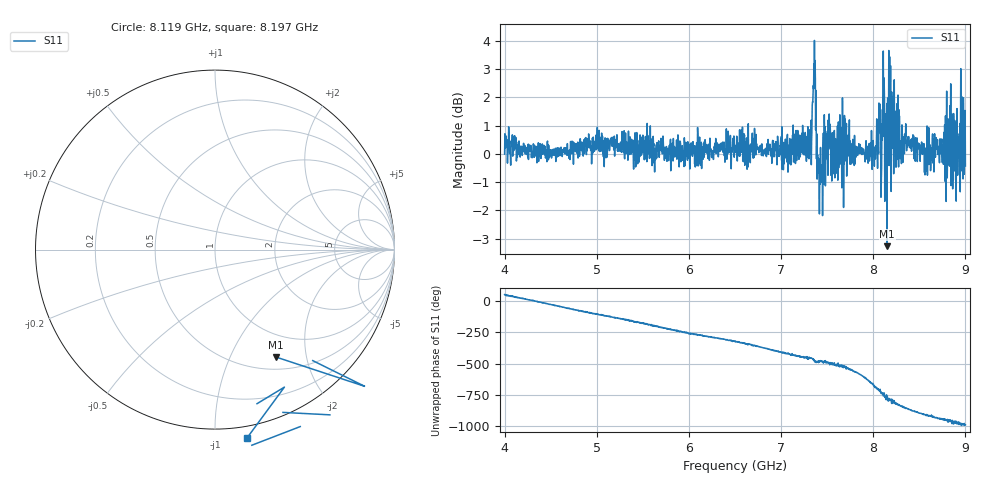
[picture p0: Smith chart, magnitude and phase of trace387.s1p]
! Created with skrf 1.8.0 (http://scikit-rf.org).
# Hz S RI R 50.0
!freq ReS11 ImS11
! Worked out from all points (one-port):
!   1601 points, 4 GHz to 9 GHz, reference 50 ohm
!   lowest |S11| = -3.3 dB at 8.15 GHz (marker M1), VSWR 5.38, Z = 33.2 - j75.1 ohm
!   |S11| at or under -10 dB: nowhere
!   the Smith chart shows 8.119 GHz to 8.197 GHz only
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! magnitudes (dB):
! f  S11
! 4 GHz  0.0
! 4.625 GHz  -0.1
! 5.25 GHz  0.2
! 5.875 GHz  -0.1
! 6.5 GHz  0.3
! 7.125 GHz  0.7
! 7.309 GHz  0.3
! 7.356 GHz  3.2
! 7.372 GHz  2.7
! 7.4 GHz  -0.7
! 7.428 GHz  0.2
! 7.512 GHz  1.2
! 7.562 GHz  0.4
! 7.669 GHz  1.0
! 7.75 GHz  0.5
! 8.009 GHz  0.0
! 8.056 GHz  0.1
! 8.069 GHz  0.8
! 8.122 GHz  1.9
! 8.15 GHz  -3.3
! 8.178 GHz  3.4
! 8.312 GHz  1.0
! 8.375 GHz  0.6
! 8.766 GHz  0.4
! 8.834 GHz  1.7
! 8.919 GHz  -0.2
! 8.972 GHz  0.6
! 9 GHz  -0.4
